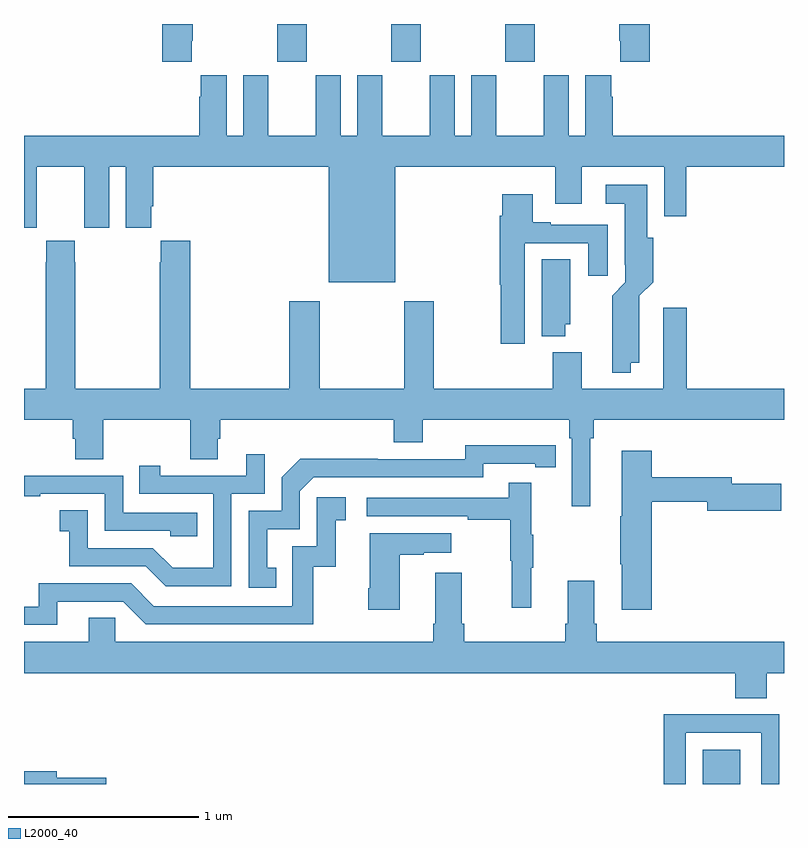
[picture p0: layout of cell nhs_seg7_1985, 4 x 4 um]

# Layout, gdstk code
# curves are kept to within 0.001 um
import gdstk
lib = gdstk.Library(unit=1e-6, precision=1e-09)
def R(c, l, rs):  # rectangles x0, y0, x1, y1
    for r in rs: c.add(gdstk.rectangle(r[:2], r[2:], *l))
def A(c, l, x, y, w, h, nx, ny, dx, dy):  # array of equal rectangles
    R(c, l, [(x+i*dx, y+j*dy, x+i*dx+w, y+j*dy+h) for i in range(nx) for j in range(ny)])
def P(c, l, *ps):  # polygons
    for p in ps: c.add(gdstk.Polygon(p, *l))
L2000_40 = (2000, 40)

nhs_seg7_1985 = lib.new_cell('nhs_seg7_1985')
A(nhs_seg7_1985, L2000_40, 244.333, 1035.801, 0.155, 0.199, 3, 1, 0.6, 0)
R(nhs_seg7_1985, L2000_40, [(246.572,1032,246.769,1032.181)])
P(nhs_seg7_1985, L2000_40, [(243.883,1035.913),(243.888,1035.913),(243.888,1036),(243.728,1036),(243.728,1035.801),(243.883,1035.801)],
  [(246.293,1036),(246.133,1036),(246.133,1035.913),(246.137,1035.913),(246.137,1035.801),(246.293,1035.801)],
  [(244.954,1035.248),(245.795,1035.248),(245.795,1035.054),(245.935,1035.054),(245.935,1035.248),(246.369,1035.248),(246.369,1034.988),(246.485,1034.988),(246.485,1035.248),(247,1035.248),(247,1035.412),(246.098,1035.412),(246.098,1035.617),(246.091,1035.617),(246.091,1035.73),(245.954,1035.73),(245.954,1035.412),(245.866,1035.412),(245.866,1035.73),(245.735,1035.73),(245.735,1035.412),(245.485,1035.412),(245.485,1035.73),(245.354,1035.73),(245.354,1035.412),(245.266,1035.412),(245.266,1035.73),(245.135,1035.73),(245.135,1035.412),(244.885,1035.412),(244.885,1035.73),(244.754,1035.73),(244.754,1035.412),(244.666,1035.412),(244.666,1035.73),(244.535,1035.73),(244.535,1035.412),(244.285,1035.412),(244.285,1035.73),(244.154,1035.73),(244.154,1035.412),(244.066,1035.412),(244.066,1035.73),(243.929,1035.73),(243.929,1035.617),(243.923,1035.617),(243.923,1035.412),(243,1035.412),(243,1034.928),(243.066,1034.928),(243.066,1035.04),(243.067,1035.04),(243.067,1035.248),(243.317,1035.248),(243.317,1035.04),(243.318,1035.04),(243.318,1034.928),(243.448,1034.928),(243.448,1035.248),(243.536,1035.248),(243.536,1034.928),(243.67,1034.928),(243.67,1035.04),(243.68,1035.04),(243.68,1035.248),(244.604,1035.248),(244.604,1034.642),(244.954,1034.642)],
  [(246.193,1034.216),(246.238,1034.216),(246.239,1034.57),(246.311,1034.642),(246.311,1034.874),(246.28,1034.874),(246.28,1035.154),(246.063,1035.154),(246.063,1035.053),(246.161,1035.053),(246.161,1034.734),(246.165,1034.734),(246.165,1034.64),(246.095,1034.57),(246.096,1034.165),(246.193,1034.165)],
  [(245.635,1034.847),(245.969,1034.847),(245.969,1034.676),(246.073,1034.676),(246.073,1034.943),(245.773,1034.943),(245.773,1034.956),(245.677,1034.956),(245.677,1035.103),(245.516,1035.103),(245.516,1034.99),(245.504,1034.99),(245.504,1034.628),(245.509,1034.628),(245.509,1034.316),(245.635,1034.316)],
  [(243.874,1033.708),(244.021,1033.708),(244.021,1033.818),(244.034,1033.818),(244.034,1033.916),(244.946,1033.916),(244.946,1033.799),(245.098,1033.799),(245.098,1033.916),(245.87,1033.916),(245.87,1033.82),(245.883,1033.82),(245.883,1033.461),(245.98,1033.461),(245.98,1033.82),(245.999,1033.82),(245.999,1033.916),(247,1033.916),(247,1034.08),(246.488,1034.08),(246.488,1034.506),(246.365,1034.506),(246.365,1034.08),(245.935,1034.08),(245.935,1034.272),(245.783,1034.272),(245.783,1034.08),(245.157,1034.08),(245.157,1034.542),(245.002,1034.542),(245.002,1034.08),(244.557,1034.08),(244.557,1034.542),(244.397,1034.542),(244.397,1034.08),(243.875,1034.08),(243.875,1034.86),(243.721,1034.86),(243.721,1034.747),(243.715,1034.747),(243.715,1034.08),(243.27,1034.08),(243.27,1034.747),(243.267,1034.747),(243.267,1034.86),(243.117,1034.86),(243.117,1034.747),(243.115,1034.747),(243.115,1034.08),(243,1034.08),(243,1033.916),(243.257,1033.916),(243.257,1033.818),(243.269,1033.818),(243.269,1033.708),(243.417,1033.708),(243.417,1033.916),(243.874,1033.916)],
  [(245.848,1034.421),(245.875,1034.421),(245.875,1034.762),(245.726,1034.762),(245.726,1034.357),(245.848,1034.357)],
  [(244.328,1033.137),(244.279,1033.137),(244.279,1033.341),(244.452,1033.341),(244.452,1033.542),(244.524,1033.614),(245.418,1033.614),(245.418,1033.686),(245.69,1033.686),(245.69,1033.666),(245.798,1033.666),(245.798,1033.782),(245.322,1033.783),(245.322,1033.71),(244.862,1033.71),(244.862,1033.712),(244.454,1033.712),(244.356,1033.614),(244.356,1033.437),(244.182,1033.437),(244.182,1033.032),(244.328,1033.032)],
  [(246.305,1033.486),(246.596,1033.486),(246.596,1033.439),(246.985,1033.439),(246.985,1033.581),(246.724,1033.581),(246.724,1033.615),(246.305,1033.615),(246.305,1033.753),(246.146,1033.753),(246.146,1033.409),(246.139,1033.409),(246.139,1033.156),(246.146,1033.156),(246.146,1032.918),(246.305,1032.918)],
  [(244.092,1033.527),(244.266,1033.527),(244.266,1033.735),(244.169,1033.735),(244.169,1033.623),(243.718,1033.623),(243.718,1033.675),(243.607,1033.675),(243.607,1033.527),(243.996,1033.527),(243.996,1033.138),(243.782,1033.138),(243.678,1033.242),(243.336,1033.242),(243.336,1033.441),(243.189,1033.441),(243.189,1033.331),(243.238,1033.331),(243.238,1033.146),(243.641,1033.146),(243.746,1033.041),(244.092,1033.041)],
  [(243.911,1033.428),(243.522,1033.428),(243.522,1033.623),(243,1033.623),(243,1033.515),(243.085,1033.515),(243.085,1033.527),(243.426,1033.527),(243.426,1033.332),(243.771,1033.332),(243.771,1033.305),(243.911,1033.305)],
  [(245.669,1033.139),(245.68,1033.139),(245.68,1033.313),(245.669,1033.313),(245.669,1033.585),(245.551,1033.585),(245.551,1033.506),(244.803,1033.506),(244.803,1033.41),(245.335,1033.41),(245.335,1033.39),(245.559,1033.39),(245.559,1033.176),(245.566,1033.176),(245.566,1032.927),(245.669,1032.927)],
  [(243.175,1032.96),(243.522,1032.96),(243.642,1032.84),(244.522,1032.84),(244.522,1033.143),(244.64,1033.143),(244.64,1033.389),(244.693,1033.389),(244.693,1033.51),(244.542,1033.51),(244.542,1033.251),(244.413,1033.251),(244.413,1032.936),(243.684,1032.936),(243.564,1033.056),(243.078,1033.056),(243.078,1032.933),(243,1032.933),(243,1032.837),(243.175,1032.837)],
  [(244.978,1033.207),(245.105,1033.207),(245.105,1033.217),(245.248,1033.217),(245.248,1033.321),(244.82,1033.321),(244.82,1033.03),(244.813,1033.03),(244.813,1032.918),(244.978,1032.918)],
  [(246.908,1032.584),(247,1032.584),(247,1032.748),(246.014,1032.748),(246.014,1032.844),(246.001,1032.844),(246.001,1033.069),(245.861,1033.069),(245.861,1032.844),(245.849,1032.844),(245.849,1032.748),(245.318,1032.748),(245.318,1032.844),(245.305,1032.844),(245.305,1033.111),(245.165,1033.111),(245.165,1032.844),(245.153,1032.844),(245.153,1032.748),(243.48,1032.748),(243.48,1032.875),(243.341,1032.875),(243.341,1032.748),(243,1032.748),(243,1032.584),(246.743,1032.584),(246.743,1032.451),(246.908,1032.451)],
  [(246.483,1032.27),(246.879,1032.27),(246.879,1032),(246.975,1032),(246.975,1032.366),(246.659,1032.366),(246.659,1032.368),(246.367,1032.368),(246.367,1032),(246.483,1032)],
  [(243.433,1032.032),(243.172,1032.032),(243.172,1032.068),(243,1032.068),(243,1032),(243.433,1032)])

lib.write_gds('nhs_seg7_1985.gds')
